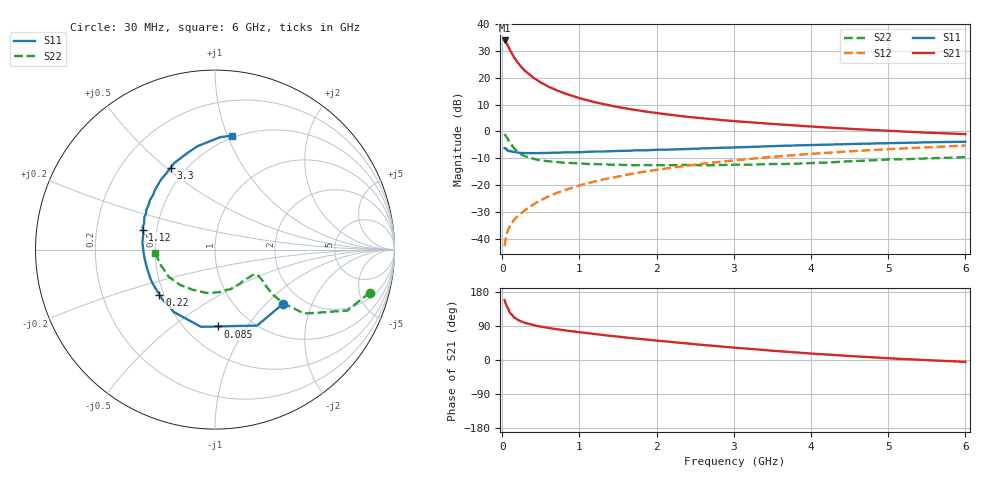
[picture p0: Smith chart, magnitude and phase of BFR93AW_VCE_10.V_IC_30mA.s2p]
! Infineon Technologies  Discrete & RF Semiconductors
! BFR93AW
! VCE =  10. V,  IC =  30 mA
! Common Emitter S-Parameters:  Nov 2015
# GHz  S  MA  R  50
!  f  S11  S21  S12  S22
! GHz  MAG  ANG  MAG  ANG  MAG  ANG  MAG  ANG
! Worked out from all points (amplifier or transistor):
!   206 points, 30 MHz to 6 GHz, reference 50 ohm
!   highest |S21| = 34.0 dB at 30 MHz (marker M1)
!   |S21| within 3 dB of that: start of sweep to 88.82 MHz
!   unconditionally stable (mu >= 1): 478.5 MHz to 2.209 GHz
!   at 200 MHz: K = 0.78, MSG = 28.6 dB, |S12| = -31.6 dB
!   at 1.56 GHz: K = 1.04, MAG = 11.4 dB, |S12| = -16.5 dB
!   at 6 GHz: K = 0.88, MSG = 2.1 dB, |S12| = -5.3 dB
!   S11 on the Smith chart (normalised r, x): 30 MHz: 1.61, -1.27; 85 MHz: 0.71, -0.74; 220 MHz: 0.47, -0.28; 1.12 GHz: 0.42, +0.11; 3.3 GHz: 0.41, +0.52; 6 GHz: 0.48, +1.04
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0.03  0.4851 -38.5  49.92 158.0  0.0072 73.8  0.896 -15.5
0.05  0.4838 -61.0  45.66 144.4  0.0113 70.5  0.811 -24.8
0.085  0.4284 -87.9  36.23 131.6  0.0156 64.9  0.6679 -31.8
0.1  0.4373 -100.3  32.96 124.0  0.0175 63.3  0.6106 -35.7
0.15  0.4165 -123.4  24.41 112.9  0.022 61.9  0.4859 -38.1
0.2  0.4034 -136.7  19.21 106.0  0.0263 63.6  0.4153 -37.9
0.22  0.3988 -140.9  17.78 104.3  0.0278 64.6  0.3969 -37.4
0.26  0.3955 -148.6  15.19 100.5  0.031 66.3  0.3641 -36.3
0.3  0.3955 -154.0  13.25 97.5  0.0345 67.3  0.3432 -35.2
0.4  0.3929 -164.2  10.08 92.1  0.0432 69.1  0.3084 -32.6
0.5  0.3945 -171.2  8.156 87.9  0.0521 71.0  0.2869 -31.4
0.6  0.3978 -176.3  6.827 84.4  0.0611 72.0  0.2764 -30.8
0.7  0.4005 179.1  5.896 81.3  0.0704 72.4  0.2692 -31.3
1.04  0.4113 166.8  4.03 72.3  0.1017 72.3  0.2507 -35.4
1.12  0.4176 164.6  3.752 70.3  0.1093 72.0  0.2464 -37.2
1.5  0.4335 155.2  2.847 61.6  0.1441 70.4  0.2389 -44.9
2.02  0.4548 143.0  2.179 50.7  0.1936 66.8  0.2345 -58.5
3.1  0.5067 121.8  1.52 31.2  0.2965 57.8  0.2387 -88.1
3.3  0.5193 118.3  1.447 28.0  0.3157 55.9  0.2408 -94.9
4.1  0.5614 105.5  1.209 15.8  0.3895 48.0  0.2591 -122.9
5.1  0.6067 92.0  1.011 3.6  0.4738 37.4  0.3001 -152.4
6  0.6412 81.6  0.89 -4.9  0.5431 28.0  0.3324 -176.3
